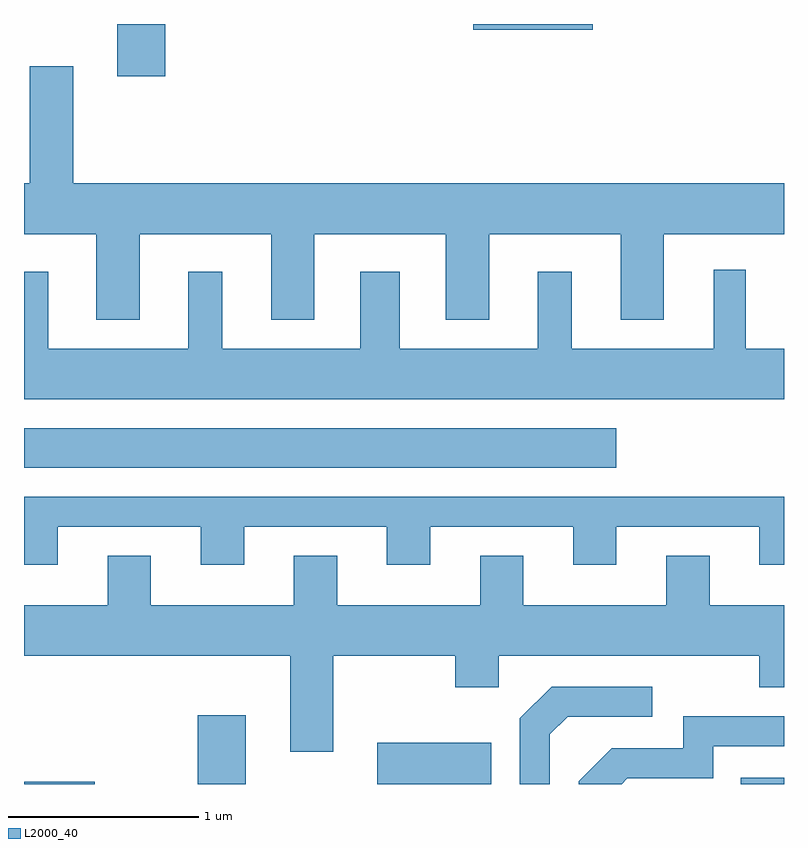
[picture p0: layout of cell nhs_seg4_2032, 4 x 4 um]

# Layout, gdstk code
import gdstk
lib = gdstk.Library(unit=1e-6, precision=1e-09)
def R(c, l, rs):  # rectangles x0, y0, x1, y1
    for r in rs: c.add(gdstk.rectangle(r[:2], r[2:], *l))
def P(c, l, *ps):  # polygons
    for p in ps: c.add(gdstk.Polygon(p, *l))
L2000_40 = (2000, 40)

nhs_seg4_2032 = lib.new_cell('nhs_seg4_2032')
R(nhs_seg4_2032, L2000_40, [(243.611,1373.982,243.984,1373.994), (244.526,1373.982,244.779,1374.344), (245.471,1373.982,246.069,1374.199), (247.383,1373.982,247.611,1374.014), (243.611,1375.646,246.729,1375.854), (244.101,1377.706,244.354,1377.982), (245.976,1377.951,246.604,1377.982)])
P(nhs_seg4_2032, L2000_40, [(244.219,1376.876),(244.911,1376.876),(244.911,1376.426),(245.139,1376.426),(245.139,1376.876),(245.831,1376.876),(245.831,1376.426),(246.059,1376.426),(246.059,1376.876),(246.751,1376.876),(246.751,1376.426),(246.979,1376.426),(246.979,1376.876),(247.611,1376.876),(247.611,1377.144),(243.869,1377.144),(243.869,1377.759),(243.641,1377.759),(243.641,1377.144),(243.611,1377.144),(243.611,1376.876),(243.991,1376.876),(243.991,1376.426),(244.219,1376.426)],
  [(247.611,1376.274),(247.409,1376.274),(247.409,1376.688),(247.241,1376.688),(247.241,1376.274),(246.494,1376.274),(246.494,1376.679),(246.316,1376.679),(246.316,1376.274),(245.589,1376.274),(245.589,1376.679),(245.381,1376.679),(245.381,1376.274),(244.654,1376.274),(244.654,1376.679),(244.476,1376.679),(244.476,1376.274),(243.739,1376.274),(243.739,1376.679),(243.611,1376.679),(243.611,1376.006),(247.611,1376.006)],
  [(243.789,1375.336),(244.541,1375.336),(244.541,1375.136),(244.769,1375.136),(244.769,1375.336),(245.521,1375.336),(245.521,1375.136),(245.749,1375.136),(245.749,1375.336),(246.501,1375.336),(246.501,1375.136),(246.729,1375.136),(246.729,1375.336),(247.481,1375.336),(247.481,1375.136),(247.611,1375.136),(247.611,1375.494),(243.611,1375.494),(243.611,1375.136),(243.789,1375.136)],
  [(246.011,1374.924),(245.259,1374.924),(245.259,1375.184),(245.031,1375.184),(245.031,1374.924),(244.279,1374.924),(244.279,1375.184),(244.051,1375.184),(244.051,1374.924),(243.611,1374.924),(243.611,1374.656),(245.011,1374.656),(245.011,1374.151),(245.239,1374.151),(245.239,1374.656),(245.881,1374.656),(245.881,1374.491),(246.109,1374.491),(246.109,1374.656),(247.481,1374.656),(247.481,1374.491),(247.611,1374.491),(247.611,1374.924),(247.219,1374.924),(247.219,1375.184),(246.991,1375.184),(246.991,1374.924),(246.239,1374.924),(246.239,1375.184),(246.011,1375.184)],
  [(246.379,1374.244),(246.472,1374.336),(246.918,1374.336),(246.918,1374.494),(246.389,1374.494),(246.221,1374.327),(246.221,1373.982),(246.379,1373.982)],
  [(246.787,1374.011),(247.239,1374.011),(247.239,1374.181),(247.611,1374.181),(247.611,1374.339),(247.081,1374.339),(247.081,1374.169),(246.704,1374.169),(246.531,1373.997),(246.531,1373.982),(246.758,1373.982)])

lib.write_gds('nhs_seg4_2032.gds')
